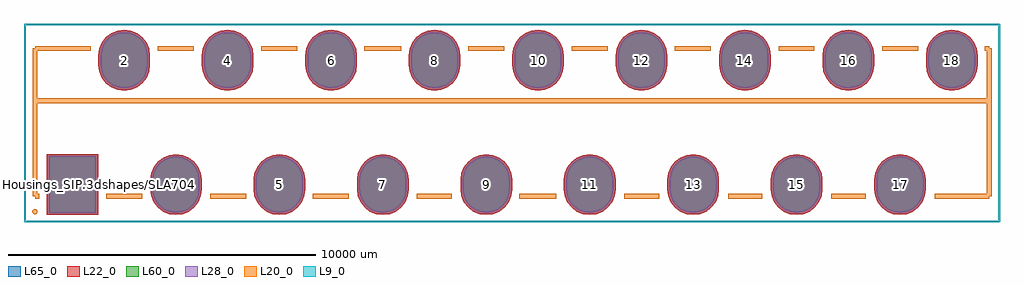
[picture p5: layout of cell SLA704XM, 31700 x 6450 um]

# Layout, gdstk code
import gdstk
lib = gdstk.Library(unit=1e-6, precision=1e-09)
def R(c, l, rs):  # rectangles x0, y0, x1, y1
    for r in rs: c.add(gdstk.rectangle(r[:2], r[2:], *l))
def P(c, l, *ps):  # polygons
    for p in ps: c.add(gdstk.Polygon(p, *l))
L9_0 = (9, 0)
L20_0 = (20, 0)
L22_0 = (22, 0)
L28_0 = (28, 0)
L60_0 = (60, 0)
L65_0 = (65, 0)

sla704xm = lib.new_cell('SLA704XM')
R(sla704xm, L22_0, [(-837,-987,837,987)])
P(sla704xm, L22_0, [(28560,3053),(28776.632,3081.52),(28978.5,3165.137),(29151.848,3298.152),(29284.863,3471.5),(29368.48,3673.368),(29397,3890),(29397,4190),(29368.48,4406.632),(29284.863,4608.5),(29151.848,4781.848),(28978.5,4914.863),(28776.632,4998.48),(28560,5027),(28343.368,4998.48),(28141.5,4914.863),(27968.152,4781.848),(27835.137,4608.5),(27751.52,4406.632),(27723,4190),(27723,3890),(27751.52,3673.368),(27835.137,3471.5),(27968.152,3298.152),(28141.5,3165.137),(28343.368,3081.52)],
  [(26880,-987),(27096.632,-958.48),(27298.5,-874.863),(27471.848,-741.848),(27604.863,-568.5),(27688.48,-366.632),(27717,-150),(27717,150),(27688.48,366.632),(27604.863,568.5),(27471.848,741.848),(27298.5,874.863),(27096.632,958.48),(26880,987),(26663.368,958.48),(26461.5,874.863),(26288.152,741.848),(26155.137,568.5),(26071.52,366.632),(26043,150),(26043,-150),(26071.52,-366.632),(26155.137,-568.5),(26288.152,-741.848),(26461.5,-874.863),(26663.368,-958.48)],
  [(25200,3053),(25416.632,3081.52),(25618.5,3165.137),(25791.848,3298.152),(25924.863,3471.5),(26008.48,3673.368),(26037,3890),(26037,4190),(26008.48,4406.632),(25924.863,4608.5),(25791.848,4781.848),(25618.5,4914.863),(25416.632,4998.48),(25200,5027),(24983.368,4998.48),(24781.5,4914.863),(24608.152,4781.848),(24475.137,4608.5),(24391.52,4406.632),(24363,4190),(24363,3890),(24391.52,3673.368),(24475.137,3471.5),(24608.152,3298.152),(24781.5,3165.137),(24983.368,3081.52)],
  [(23520,-987),(23736.632,-958.48),(23938.5,-874.863),(24111.848,-741.848),(24244.863,-568.5),(24328.48,-366.632),(24357,-150),(24357,150),(24328.48,366.632),(24244.863,568.5),(24111.848,741.848),(23938.5,874.863),(23736.632,958.48),(23520,987),(23303.368,958.48),(23101.5,874.863),(22928.152,741.848),(22795.137,568.5),(22711.52,366.632),(22683,150),(22683,-150),(22711.52,-366.632),(22795.137,-568.5),(22928.152,-741.848),(23101.5,-874.863),(23303.368,-958.48)],
  [(21840,3053),(22056.632,3081.52),(22258.5,3165.137),(22431.848,3298.152),(22564.863,3471.5),(22648.48,3673.368),(22677,3890),(22677,4190),(22648.48,4406.632),(22564.863,4608.5),(22431.848,4781.848),(22258.5,4914.863),(22056.632,4998.48),(21840,5027),(21623.368,4998.48),(21421.5,4914.863),(21248.152,4781.848),(21115.137,4608.5),(21031.52,4406.632),(21003,4190),(21003,3890),(21031.52,3673.368),(21115.137,3471.5),(21248.152,3298.152),(21421.5,3165.137),(21623.368,3081.52)],
  [(20160,-987),(20376.632,-958.48),(20578.5,-874.863),(20751.848,-741.848),(20884.863,-568.5),(20968.48,-366.632),(20997,-150),(20997,150),(20968.48,366.632),(20884.863,568.5),(20751.848,741.848),(20578.5,874.863),(20376.632,958.48),(20160,987),(19943.368,958.48),(19741.5,874.863),(19568.152,741.848),(19435.137,568.5),(19351.52,366.632),(19323,150),(19323,-150),(19351.52,-366.632),(19435.137,-568.5),(19568.152,-741.848),(19741.5,-874.863),(19943.368,-958.48)],
  [(18480,3053),(18696.632,3081.52),(18898.5,3165.137),(19071.848,3298.152),(19204.863,3471.5),(19288.48,3673.368),(19317,3890),(19317,4190),(19288.48,4406.632),(19204.863,4608.5),(19071.848,4781.848),(18898.5,4914.863),(18696.632,4998.48),(18480,5027),(18263.368,4998.48),(18061.5,4914.863),(17888.152,4781.848),(17755.137,4608.5),(17671.52,4406.632),(17643,4190),(17643,3890),(17671.52,3673.368),(17755.137,3471.5),(17888.152,3298.152),(18061.5,3165.137),(18263.368,3081.52)],
  [(16800,-987),(17016.632,-958.48),(17218.5,-874.863),(17391.848,-741.848),(17524.863,-568.5),(17608.48,-366.632),(17637,-150),(17637,150),(17608.48,366.632),(17524.863,568.5),(17391.848,741.848),(17218.5,874.863),(17016.632,958.48),(16800,987),(16583.368,958.48),(16381.5,874.863),(16208.152,741.848),(16075.137,568.5),(15991.52,366.632),(15963,150),(15963,-150),(15991.52,-366.632),(16075.137,-568.5),(16208.152,-741.848),(16381.5,-874.863),(16583.368,-958.48)],
  [(15120,3053),(15336.632,3081.52),(15538.5,3165.137),(15711.848,3298.152),(15844.863,3471.5),(15928.48,3673.368),(15957,3890),(15957,4190),(15928.48,4406.632),(15844.863,4608.5),(15711.848,4781.848),(15538.5,4914.863),(15336.632,4998.48),(15120,5027),(14903.368,4998.48),(14701.5,4914.863),(14528.152,4781.848),(14395.137,4608.5),(14311.52,4406.632),(14283,4190),(14283,3890),(14311.52,3673.368),(14395.137,3471.5),(14528.152,3298.152),(14701.5,3165.137),(14903.368,3081.52)],
  [(13440,-987),(13656.632,-958.48),(13858.5,-874.863),(14031.848,-741.848),(14164.863,-568.5),(14248.48,-366.632),(14277,-150),(14277,150),(14248.48,366.632),(14164.863,568.5),(14031.848,741.848),(13858.5,874.863),(13656.632,958.48),(13440,987),(13223.368,958.48),(13021.5,874.863),(12848.152,741.848),(12715.137,568.5),(12631.52,366.632),(12603,150),(12603,-150),(12631.52,-366.632),(12715.137,-568.5),(12848.152,-741.848),(13021.5,-874.863),(13223.368,-958.48)],
  [(11760,3053),(11976.632,3081.52),(12178.5,3165.137),(12351.848,3298.152),(12484.863,3471.5),(12568.48,3673.368),(12597,3890),(12597,4190),(12568.48,4406.632),(12484.863,4608.5),(12351.848,4781.848),(12178.5,4914.863),(11976.632,4998.48),(11760,5027),(11543.368,4998.48),(11341.5,4914.863),(11168.152,4781.848),(11035.137,4608.5),(10951.52,4406.632),(10923,4190),(10923,3890),(10951.52,3673.368),(11035.137,3471.5),(11168.152,3298.152),(11341.5,3165.137),(11543.368,3081.52)],
  [(10080,-987),(10296.632,-958.48),(10498.5,-874.863),(10671.848,-741.848),(10804.863,-568.5),(10888.48,-366.632),(10917,-150),(10917,150),(10888.48,366.632),(10804.863,568.5),(10671.848,741.848),(10498.5,874.863),(10296.632,958.48),(10080,987),(9863.368,958.48),(9661.5,874.863),(9488.152,741.848),(9355.137,568.5),(9271.52,366.632),(9243,150),(9243,-150),(9271.52,-366.632),(9355.137,-568.5),(9488.152,-741.848),(9661.5,-874.863),(9863.368,-958.48)],
  [(8400,3053),(8616.632,3081.52),(8818.5,3165.137),(8991.848,3298.152),(9124.863,3471.5),(9208.48,3673.368),(9237,3890),(9237,4190),(9208.48,4406.632),(9124.863,4608.5),(8991.848,4781.848),(8818.5,4914.863),(8616.632,4998.48),(8400,5027),(8183.368,4998.48),(7981.5,4914.863),(7808.152,4781.848),(7675.137,4608.5),(7591.52,4406.632),(7563,4190),(7563,3890),(7591.52,3673.368),(7675.137,3471.5),(7808.152,3298.152),(7981.5,3165.137),(8183.368,3081.52)],
  [(6720,-987),(6936.632,-958.48),(7138.5,-874.863),(7311.848,-741.848),(7444.863,-568.5),(7528.48,-366.632),(7557,-150),(7557,150),(7528.48,366.632),(7444.863,568.5),(7311.848,741.848),(7138.5,874.863),(6936.632,958.48),(6720,987),(6503.368,958.48),(6301.5,874.863),(6128.152,741.848),(5995.137,568.5),(5911.52,366.632),(5883,150),(5883,-150),(5911.52,-366.632),(5995.137,-568.5),(6128.152,-741.848),(6301.5,-874.863),(6503.368,-958.48)],
  [(5040,3053),(5256.632,3081.52),(5458.5,3165.137),(5631.848,3298.152),(5764.863,3471.5),(5848.48,3673.368),(5877,3890),(5877,4190),(5848.48,4406.632),(5764.863,4608.5),(5631.848,4781.848),(5458.5,4914.863),(5256.632,4998.48),(5040,5027),(4823.368,4998.48),(4621.5,4914.863),(4448.152,4781.848),(4315.137,4608.5),(4231.52,4406.632),(4203,4190),(4203,3890),(4231.52,3673.368),(4315.137,3471.5),(4448.152,3298.152),(4621.5,3165.137),(4823.368,3081.52)],
  [(3360,-987),(3576.632,-958.48),(3778.5,-874.863),(3951.848,-741.848),(4084.863,-568.5),(4168.48,-366.632),(4197,-150),(4197,150),(4168.48,366.632),(4084.863,568.5),(3951.848,741.848),(3778.5,874.863),(3576.632,958.48),(3360,987),(3143.368,958.48),(2941.5,874.863),(2768.152,741.848),(2635.137,568.5),(2551.52,366.632),(2523,150),(2523,-150),(2551.52,-366.632),(2635.137,-568.5),(2768.152,-741.848),(2941.5,-874.863),(3143.368,-958.48)],
  [(1680,3053),(1896.632,3081.52),(2098.5,3165.137),(2271.848,3298.152),(2404.863,3471.5),(2488.48,3673.368),(2517,3890),(2517,4190),(2488.48,4406.632),(2404.863,4608.5),(2271.848,4781.848),(2098.5,4914.863),(1896.632,4998.48),(1680,5027),(1463.368,4998.48),(1261.5,4914.863),(1088.152,4781.848),(955.137,4608.5),(871.52,4406.632),(843,4190),(843,3890),(871.52,3673.368),(955.137,3471.5),(1088.152,3298.152),(1261.5,3165.137),(1463.368,3081.52)])
R(sla704xm, L28_0, [(-762,-912,762,912)])
P(sla704xm, L28_0, [(28560,3128),(28757.22,3153.965),(28941,3230.089),(29098.815,3351.185),(29219.911,3509),(29296.035,3692.78),(29322,3890),(29322,4190),(29296.035,4387.22),(29219.911,4571),(29098.815,4728.815),(28941,4849.911),(28757.22,4926.035),(28560,4952),(28362.78,4926.035),(28179,4849.911),(28021.185,4728.815),(27900.089,4571),(27823.965,4387.22),(27798,4190),(27798,3890),(27823.965,3692.78),(27900.089,3509),(28021.185,3351.185),(28179,3230.089),(28362.78,3153.965)],
  [(26880,-912),(27077.22,-886.035),(27261,-809.911),(27418.815,-688.815),(27539.911,-531),(27616.035,-347.22),(27642,-150),(27642,150),(27616.035,347.22),(27539.911,531),(27418.815,688.815),(27261,809.911),(27077.22,886.035),(26880,912),(26682.78,886.035),(26499,809.911),(26341.185,688.815),(26220.089,531),(26143.965,347.22),(26118,150),(26118,-150),(26143.965,-347.22),(26220.089,-531),(26341.185,-688.815),(26499,-809.911),(26682.78,-886.035)],
  [(25200,3128),(25397.22,3153.965),(25581,3230.089),(25738.815,3351.185),(25859.911,3509),(25936.035,3692.78),(25962,3890),(25962,4190),(25936.035,4387.22),(25859.911,4571),(25738.815,4728.815),(25581,4849.911),(25397.22,4926.035),(25200,4952),(25002.78,4926.035),(24819,4849.911),(24661.185,4728.815),(24540.089,4571),(24463.965,4387.22),(24438,4190),(24438,3890),(24463.965,3692.78),(24540.089,3509),(24661.185,3351.185),(24819,3230.089),(25002.78,3153.965)],
  [(23520,-912),(23717.22,-886.035),(23901,-809.911),(24058.815,-688.815),(24179.911,-531),(24256.035,-347.22),(24282,-150),(24282,150),(24256.035,347.22),(24179.911,531),(24058.815,688.815),(23901,809.911),(23717.22,886.035),(23520,912),(23322.78,886.035),(23139,809.911),(22981.185,688.815),(22860.089,531),(22783.965,347.22),(22758,150),(22758,-150),(22783.965,-347.22),(22860.089,-531),(22981.185,-688.815),(23139,-809.911),(23322.78,-886.035)],
  [(21840,3128),(22037.22,3153.965),(22221,3230.089),(22378.815,3351.185),(22499.911,3509),(22576.035,3692.78),(22602,3890),(22602,4190),(22576.035,4387.22),(22499.911,4571),(22378.815,4728.815),(22221,4849.911),(22037.22,4926.035),(21840,4952),(21642.78,4926.035),(21459,4849.911),(21301.185,4728.815),(21180.089,4571),(21103.965,4387.22),(21078,4190),(21078,3890),(21103.965,3692.78),(21180.089,3509),(21301.185,3351.185),(21459,3230.089),(21642.78,3153.965)],
  [(20160,-912),(20357.22,-886.035),(20541,-809.911),(20698.815,-688.815),(20819.911,-531),(20896.035,-347.22),(20922,-150),(20922,150),(20896.035,347.22),(20819.911,531),(20698.815,688.815),(20541,809.911),(20357.22,886.035),(20160,912),(19962.78,886.035),(19779,809.911),(19621.185,688.815),(19500.089,531),(19423.965,347.22),(19398,150),(19398,-150),(19423.965,-347.22),(19500.089,-531),(19621.185,-688.815),(19779,-809.911),(19962.78,-886.035)],
  [(18480,3128),(18677.22,3153.965),(18861,3230.089),(19018.815,3351.185),(19139.911,3509),(19216.035,3692.78),(19242,3890),(19242,4190),(19216.035,4387.22),(19139.911,4571),(19018.815,4728.815),(18861,4849.911),(18677.22,4926.035),(18480,4952),(18282.78,4926.035),(18099,4849.911),(17941.185,4728.815),(17820.089,4571),(17743.965,4387.22),(17718,4190),(17718,3890),(17743.965,3692.78),(17820.089,3509),(17941.185,3351.185),(18099,3230.089),(18282.78,3153.965)],
  [(16800,-912),(16997.22,-886.035),(17181,-809.911),(17338.815,-688.815),(17459.911,-531),(17536.035,-347.22),(17562,-150),(17562,150),(17536.035,347.22),(17459.911,531),(17338.815,688.815),(17181,809.911),(16997.22,886.035),(16800,912),(16602.78,886.035),(16419,809.911),(16261.185,688.815),(16140.089,531),(16063.965,347.22),(16038,150),(16038,-150),(16063.965,-347.22),(16140.089,-531),(16261.185,-688.815),(16419,-809.911),(16602.78,-886.035)],
  [(15120,3128),(15317.22,3153.965),(15501,3230.089),(15658.815,3351.185),(15779.911,3509),(15856.035,3692.78),(15882,3890),(15882,4190),(15856.035,4387.22),(15779.911,4571),(15658.815,4728.815),(15501,4849.911),(15317.22,4926.035),(15120,4952),(14922.78,4926.035),(14739,4849.911),(14581.185,4728.815),(14460.089,4571),(14383.965,4387.22),(14358,4190),(14358,3890),(14383.965,3692.78),(14460.089,3509),(14581.185,3351.185),(14739,3230.089),(14922.78,3153.965)],
  [(13440,-912),(13637.22,-886.035),(13821,-809.911),(13978.815,-688.815),(14099.911,-531),(14176.035,-347.22),(14202,-150),(14202,150),(14176.035,347.22),(14099.911,531),(13978.815,688.815),(13821,809.911),(13637.22,886.035),(13440,912),(13242.78,886.035),(13059,809.911),(12901.185,688.815),(12780.089,531),(12703.965,347.22),(12678,150),(12678,-150),(12703.965,-347.22),(12780.089,-531),(12901.185,-688.815),(13059,-809.911),(13242.78,-886.035)],
  [(11760,3128),(11957.22,3153.965),(12141,3230.089),(12298.815,3351.185),(12419.911,3509),(12496.035,3692.78),(12522,3890),(12522,4190),(12496.035,4387.22),(12419.911,4571),(12298.815,4728.815),(12141,4849.911),(11957.22,4926.035),(11760,4952),(11562.78,4926.035),(11379,4849.911),(11221.185,4728.815),(11100.089,4571),(11023.965,4387.22),(10998,4190),(10998,3890),(11023.965,3692.78),(11100.089,3509),(11221.185,3351.185),(11379,3230.089),(11562.78,3153.965)],
  [(10080,-912),(10277.22,-886.035),(10461,-809.911),(10618.815,-688.815),(10739.911,-531),(10816.035,-347.22),(10842,-150),(10842,150),(10816.035,347.22),(10739.911,531),(10618.815,688.815),(10461,809.911),(10277.22,886.035),(10080,912),(9882.78,886.035),(9699,809.911),(9541.185,688.815),(9420.089,531),(9343.965,347.22),(9318,150),(9318,-150),(9343.965,-347.22),(9420.089,-531),(9541.185,-688.815),(9699,-809.911),(9882.78,-886.035)],
  [(8400,3128),(8597.22,3153.965),(8781,3230.089),(8938.815,3351.185),(9059.911,3509),(9136.035,3692.78),(9162,3890),(9162,4190),(9136.035,4387.22),(9059.911,4571),(8938.815,4728.815),(8781,4849.911),(8597.22,4926.035),(8400,4952),(8202.78,4926.035),(8019,4849.911),(7861.185,4728.815),(7740.089,4571),(7663.965,4387.22),(7638,4190),(7638,3890),(7663.965,3692.78),(7740.089,3509),(7861.185,3351.185),(8019,3230.089),(8202.78,3153.965)],
  [(6720,-912),(6917.22,-886.035),(7101,-809.911),(7258.815,-688.815),(7379.911,-531),(7456.035,-347.22),(7482,-150),(7482,150),(7456.035,347.22),(7379.911,531),(7258.815,688.815),(7101,809.911),(6917.22,886.035),(6720,912),(6522.78,886.035),(6339,809.911),(6181.185,688.815),(6060.089,531),(5983.965,347.22),(5958,150),(5958,-150),(5983.965,-347.22),(6060.089,-531),(6181.185,-688.815),(6339,-809.911),(6522.78,-886.035)],
  [(5040,3128),(5237.22,3153.965),(5421,3230.089),(5578.815,3351.185),(5699.911,3509),(5776.035,3692.78),(5802,3890),(5802,4190),(5776.035,4387.22),(5699.911,4571),(5578.815,4728.815),(5421,4849.911),(5237.22,4926.035),(5040,4952),(4842.78,4926.035),(4659,4849.911),(4501.185,4728.815),(4380.089,4571),(4303.965,4387.22),(4278,4190),(4278,3890),(4303.965,3692.78),(4380.089,3509),(4501.185,3351.185),(4659,3230.089),(4842.78,3153.965)],
  [(3360,-912),(3557.22,-886.035),(3741,-809.911),(3898.815,-688.815),(4019.911,-531),(4096.035,-347.22),(4122,-150),(4122,150),(4096.035,347.22),(4019.911,531),(3898.815,688.815),(3741,809.911),(3557.22,886.035),(3360,912),(3162.78,886.035),(2979,809.911),(2821.185,688.815),(2700.089,531),(2623.965,347.22),(2598,150),(2598,-150),(2623.965,-347.22),(2700.089,-531),(2821.185,-688.815),(2979,-809.911),(3162.78,-886.035)],
  [(1680,3128),(1877.22,3153.965),(2061,3230.089),(2218.815,3351.185),(2339.911,3509),(2416.035,3692.78),(2442,3890),(2442,4190),(2416.035,4387.22),(2339.911,4571),(2218.815,4728.815),(2061,4849.911),(1877.22,4926.035),(1680,4952),(1482.78,4926.035),(1299,4849.911),(1141.185,4728.815),(1020.089,4571),(943.965,4387.22),(918,4190),(918,3890),(943.965,3692.78),(1020.089,3509),(1141.185,3351.185),(1299,3230.089),(1482.78,3153.965)])
R(sla704xm, L60_0, [(-762,-912,762,912)])
P(sla704xm, L60_0, [(28560,3128),(28757.22,3153.965),(28941,3230.089),(29098.815,3351.185),(29219.911,3509),(29296.035,3692.78),(29322,3890),(29322,4190),(29296.035,4387.22),(29219.911,4571),(29098.815,4728.815),(28941,4849.911),(28757.22,4926.035),(28560,4952),(28362.78,4926.035),(28179,4849.911),(28021.185,4728.815),(27900.089,4571),(27823.965,4387.22),(27798,4190),(27798,3890),(27823.965,3692.78),(27900.089,3509),(28021.185,3351.185),(28179,3230.089),(28362.78,3153.965)],
  [(26880,-912),(27077.22,-886.035),(27261,-809.911),(27418.815,-688.815),(27539.911,-531),(27616.035,-347.22),(27642,-150),(27642,150),(27616.035,347.22),(27539.911,531),(27418.815,688.815),(27261,809.911),(27077.22,886.035),(26880,912),(26682.78,886.035),(26499,809.911),(26341.185,688.815),(26220.089,531),(26143.965,347.22),(26118,150),(26118,-150),(26143.965,-347.22),(26220.089,-531),(26341.185,-688.815),(26499,-809.911),(26682.78,-886.035)],
  [(25200,3128),(25397.22,3153.965),(25581,3230.089),(25738.815,3351.185),(25859.911,3509),(25936.035,3692.78),(25962,3890),(25962,4190),(25936.035,4387.22),(25859.911,4571),(25738.815,4728.815),(25581,4849.911),(25397.22,4926.035),(25200,4952),(25002.78,4926.035),(24819,4849.911),(24661.185,4728.815),(24540.089,4571),(24463.965,4387.22),(24438,4190),(24438,3890),(24463.965,3692.78),(24540.089,3509),(24661.185,3351.185),(24819,3230.089),(25002.78,3153.965)],
  [(23520,-912),(23717.22,-886.035),(23901,-809.911),(24058.815,-688.815),(24179.911,-531),(24256.035,-347.22),(24282,-150),(24282,150),(24256.035,347.22),(24179.911,531),(24058.815,688.815),(23901,809.911),(23717.22,886.035),(23520,912),(23322.78,886.035),(23139,809.911),(22981.185,688.815),(22860.089,531),(22783.965,347.22),(22758,150),(22758,-150),(22783.965,-347.22),(22860.089,-531),(22981.185,-688.815),(23139,-809.911),(23322.78,-886.035)],
  [(21840,3128),(22037.22,3153.965),(22221,3230.089),(22378.815,3351.185),(22499.911,3509),(22576.035,3692.78),(22602,3890),(22602,4190),(22576.035,4387.22),(22499.911,4571),(22378.815,4728.815),(22221,4849.911),(22037.22,4926.035),(21840,4952),(21642.78,4926.035),(21459,4849.911),(21301.185,4728.815),(21180.089,4571),(21103.965,4387.22),(21078,4190),(21078,3890),(21103.965,3692.78),(21180.089,3509),(21301.185,3351.185),(21459,3230.089),(21642.78,3153.965)],
  [(20160,-912),(20357.22,-886.035),(20541,-809.911),(20698.815,-688.815),(20819.911,-531),(20896.035,-347.22),(20922,-150),(20922,150),(20896.035,347.22),(20819.911,531),(20698.815,688.815),(20541,809.911),(20357.22,886.035),(20160,912),(19962.78,886.035),(19779,809.911),(19621.185,688.815),(19500.089,531),(19423.965,347.22),(19398,150),(19398,-150),(19423.965,-347.22),(19500.089,-531),(19621.185,-688.815),(19779,-809.911),(19962.78,-886.035)],
  [(18480,3128),(18677.22,3153.965),(18861,3230.089),(19018.815,3351.185),(19139.911,3509),(19216.035,3692.78),(19242,3890),(19242,4190),(19216.035,4387.22),(19139.911,4571),(19018.815,4728.815),(18861,4849.911),(18677.22,4926.035),(18480,4952),(18282.78,4926.035),(18099,4849.911),(17941.185,4728.815),(17820.089,4571),(17743.965,4387.22),(17718,4190),(17718,3890),(17743.965,3692.78),(17820.089,3509),(17941.185,3351.185),(18099,3230.089),(18282.78,3153.965)],
  [(16800,-912),(16997.22,-886.035),(17181,-809.911),(17338.815,-688.815),(17459.911,-531),(17536.035,-347.22),(17562,-150),(17562,150),(17536.035,347.22),(17459.911,531),(17338.815,688.815),(17181,809.911),(16997.22,886.035),(16800,912),(16602.78,886.035),(16419,809.911),(16261.185,688.815),(16140.089,531),(16063.965,347.22),(16038,150),(16038,-150),(16063.965,-347.22),(16140.089,-531),(16261.185,-688.815),(16419,-809.911),(16602.78,-886.035)],
  [(15120,3128),(15317.22,3153.965),(15501,3230.089),(15658.815,3351.185),(15779.911,3509),(15856.035,3692.78),(15882,3890),(15882,4190),(15856.035,4387.22),(15779.911,4571),(15658.815,4728.815),(15501,4849.911),(15317.22,4926.035),(15120,4952),(14922.78,4926.035),(14739,4849.911),(14581.185,4728.815),(14460.089,4571),(14383.965,4387.22),(14358,4190),(14358,3890),(14383.965,3692.78),(14460.089,3509),(14581.185,3351.185),(14739,3230.089),(14922.78,3153.965)],
  [(13440,-912),(13637.22,-886.035),(13821,-809.911),(13978.815,-688.815),(14099.911,-531),(14176.035,-347.22),(14202,-150),(14202,150),(14176.035,347.22),(14099.911,531),(13978.815,688.815),(13821,809.911),(13637.22,886.035),(13440,912),(13242.78,886.035),(13059,809.911),(12901.185,688.815),(12780.089,531),(12703.965,347.22),(12678,150),(12678,-150),(12703.965,-347.22),(12780.089,-531),(12901.185,-688.815),(13059,-809.911),(13242.78,-886.035)],
  [(11760,3128),(11957.22,3153.965),(12141,3230.089),(12298.815,3351.185),(12419.911,3509),(12496.035,3692.78),(12522,3890),(12522,4190),(12496.035,4387.22),(12419.911,4571),(12298.815,4728.815),(12141,4849.911),(11957.22,4926.035),(11760,4952),(11562.78,4926.035),(11379,4849.911),(11221.185,4728.815),(11100.089,4571),(11023.965,4387.22),(10998,4190),(10998,3890),(11023.965,3692.78),(11100.089,3509),(11221.185,3351.185),(11379,3230.089),(11562.78,3153.965)],
  [(10080,-912),(10277.22,-886.035),(10461,-809.911),(10618.815,-688.815),(10739.911,-531),(10816.035,-347.22),(10842,-150),(10842,150),(10816.035,347.22),(10739.911,531),(10618.815,688.815),(10461,809.911),(10277.22,886.035),(10080,912),(9882.78,886.035),(9699,809.911),(9541.185,688.815),(9420.089,531),(9343.965,347.22),(9318,150),(9318,-150),(9343.965,-347.22),(9420.089,-531),(9541.185,-688.815),(9699,-809.911),(9882.78,-886.035)],
  [(8400,3128),(8597.22,3153.965),(8781,3230.089),(8938.815,3351.185),(9059.911,3509),(9136.035,3692.78),(9162,3890),(9162,4190),(9136.035,4387.22),(9059.911,4571),(8938.815,4728.815),(8781,4849.911),(8597.22,4926.035),(8400,4952),(8202.78,4926.035),(8019,4849.911),(7861.185,4728.815),(7740.089,4571),(7663.965,4387.22),(7638,4190),(7638,3890),(7663.965,3692.78),(7740.089,3509),(7861.185,3351.185),(8019,3230.089),(8202.78,3153.965)],
  [(6720,-912),(6917.22,-886.035),(7101,-809.911),(7258.815,-688.815),(7379.911,-531),(7456.035,-347.22),(7482,-150),(7482,150),(7456.035,347.22),(7379.911,531),(7258.815,688.815),(7101,809.911),(6917.22,886.035),(6720,912),(6522.78,886.035),(6339,809.911),(6181.185,688.815),(6060.089,531),(5983.965,347.22),(5958,150),(5958,-150),(5983.965,-347.22),(6060.089,-531),(6181.185,-688.815),(6339,-809.911),(6522.78,-886.035)],
  [(5040,3128),(5237.22,3153.965),(5421,3230.089),(5578.815,3351.185),(5699.911,3509),(5776.035,3692.78),(5802,3890),(5802,4190),(5776.035,4387.22),(5699.911,4571),(5578.815,4728.815),(5421,4849.911),(5237.22,4926.035),(5040,4952),(4842.78,4926.035),(4659,4849.911),(4501.185,4728.815),(4380.089,4571),(4303.965,4387.22),(4278,4190),(4278,3890),(4303.965,3692.78),(4380.089,3509),(4501.185,3351.185),(4659,3230.089),(4842.78,3153.965)],
  [(3360,-912),(3557.22,-886.035),(3741,-809.911),(3898.815,-688.815),(4019.911,-531),(4096.035,-347.22),(4122,-150),(4122,150),(4096.035,347.22),(4019.911,531),(3898.815,688.815),(3741,809.911),(3557.22,886.035),(3360,912),(3162.78,886.035),(2979,809.911),(2821.185,688.815),(2700.089,531),(2623.965,347.22),(2598,150),(2598,-150),(2623.965,-347.22),(2700.089,-531),(2821.185,-688.815),(2979,-809.911),(3162.78,-886.035)],
  [(1680,3128),(1877.22,3153.965),(2061,3230.089),(2218.815,3351.185),(2339.911,3509),(2416.035,3692.78),(2442,3890),(2442,4190),(2416.035,4387.22),(2339.911,4571),(2218.815,4728.815),(2061,4849.911),(1877.22,4926.035),(1680,4952),(1482.78,4926.035),(1299,4849.911),(1141.185,4728.815),(1020.089,4571),(943.965,4387.22),(918,4190),(918,3890),(943.965,3692.78),(1020.089,3509),(1141.185,3351.185),(1299,3230.089),(1482.78,3153.965)])
R(sla704xm, L65_0, [(-837,-987,837,987)])
P(sla704xm, L65_0, [(28560,3053),(28776.632,3081.52),(28978.5,3165.137),(29151.848,3298.152),(29284.863,3471.5),(29368.48,3673.368),(29397,3890),(29397,4190),(29368.48,4406.632),(29284.863,4608.5),(29151.848,4781.848),(28978.5,4914.863),(28776.632,4998.48),(28560,5027),(28343.368,4998.48),(28141.5,4914.863),(27968.152,4781.848),(27835.137,4608.5),(27751.52,4406.632),(27723,4190),(27723,3890),(27751.52,3673.368),(27835.137,3471.5),(27968.152,3298.152),(28141.5,3165.137),(28343.368,3081.52)],
  [(26880,-987),(27096.632,-958.48),(27298.5,-874.863),(27471.848,-741.848),(27604.863,-568.5),(27688.48,-366.632),(27717,-150),(27717,150),(27688.48,366.632),(27604.863,568.5),(27471.848,741.848),(27298.5,874.863),(27096.632,958.48),(26880,987),(26663.368,958.48),(26461.5,874.863),(26288.152,741.848),(26155.137,568.5),(26071.52,366.632),(26043,150),(26043,-150),(26071.52,-366.632),(26155.137,-568.5),(26288.152,-741.848),(26461.5,-874.863),(26663.368,-958.48)],
  [(25200,3053),(25416.632,3081.52),(25618.5,3165.137),(25791.848,3298.152),(25924.863,3471.5),(26008.48,3673.368),(26037,3890),(26037,4190),(26008.48,4406.632),(25924.863,4608.5),(25791.848,4781.848),(25618.5,4914.863),(25416.632,4998.48),(25200,5027),(24983.368,4998.48),(24781.5,4914.863),(24608.152,4781.848),(24475.137,4608.5),(24391.52,4406.632),(24363,4190),(24363,3890),(24391.52,3673.368),(24475.137,3471.5),(24608.152,3298.152),(24781.5,3165.137),(24983.368,3081.52)],
  [(23520,-987),(23736.632,-958.48),(23938.5,-874.863),(24111.848,-741.848),(24244.863,-568.5),(24328.48,-366.632),(24357,-150),(24357,150),(24328.48,366.632),(24244.863,568.5),(24111.848,741.848),(23938.5,874.863),(23736.632,958.48),(23520,987),(23303.368,958.48),(23101.5,874.863),(22928.152,741.848),(22795.137,568.5),(22711.52,366.632),(22683,150),(22683,-150),(22711.52,-366.632),(22795.137,-568.5),(22928.152,-741.848),(23101.5,-874.863),(23303.368,-958.48)],
  [(21840,3053),(22056.632,3081.52),(22258.5,3165.137),(22431.848,3298.152),(22564.863,3471.5),(22648.48,3673.368),(22677,3890),(22677,4190),(22648.48,4406.632),(22564.863,4608.5),(22431.848,4781.848),(22258.5,4914.863),(22056.632,4998.48),(21840,5027),(21623.368,4998.48),(21421.5,4914.863),(21248.152,4781.848),(21115.137,4608.5),(21031.52,4406.632),(21003,4190),(21003,3890),(21031.52,3673.368),(21115.137,3471.5),(21248.152,3298.152),(21421.5,3165.137),(21623.368,3081.52)],
  [(20160,-987),(20376.632,-958.48),(20578.5,-874.863),(20751.848,-741.848),(20884.863,-568.5),(20968.48,-366.632),(20997,-150),(20997,150),(20968.48,366.632),(20884.863,568.5),(20751.848,741.848),(20578.5,874.863),(20376.632,958.48),(20160,987),(19943.368,958.48),(19741.5,874.863),(19568.152,741.848),(19435.137,568.5),(19351.52,366.632),(19323,150),(19323,-150),(19351.52,-366.632),(19435.137,-568.5),(19568.152,-741.848),(19741.5,-874.863),(19943.368,-958.48)],
  [(18480,3053),(18696.632,3081.52),(18898.5,3165.137),(19071.848,3298.152),(19204.863,3471.5),(19288.48,3673.368),(19317,3890),(19317,4190),(19288.48,4406.632),(19204.863,4608.5),(19071.848,4781.848),(18898.5,4914.863),(18696.632,4998.48),(18480,5027),(18263.368,4998.48),(18061.5,4914.863),(17888.152,4781.848),(17755.137,4608.5),(17671.52,4406.632),(17643,4190),(17643,3890),(17671.52,3673.368),(17755.137,3471.5),(17888.152,3298.152),(18061.5,3165.137),(18263.368,3081.52)],
  [(16800,-987),(17016.632,-958.48),(17218.5,-874.863),(17391.848,-741.848),(17524.863,-568.5),(17608.48,-366.632),(17637,-150),(17637,150),(17608.48,366.632),(17524.863,568.5),(17391.848,741.848),(17218.5,874.863),(17016.632,958.48),(16800,987),(16583.368,958.48),(16381.5,874.863),(16208.152,741.848),(16075.137,568.5),(15991.52,366.632),(15963,150),(15963,-150),(15991.52,-366.632),(16075.137,-568.5),(16208.152,-741.848),(16381.5,-874.863),(16583.368,-958.48)],
  [(15120,3053),(15336.632,3081.52),(15538.5,3165.137),(15711.848,3298.152),(15844.863,3471.5),(15928.48,3673.368),(15957,3890),(15957,4190),(15928.48,4406.632),(15844.863,4608.5),(15711.848,4781.848),(15538.5,4914.863),(15336.632,4998.48),(15120,5027),(14903.368,4998.48),(14701.5,4914.863),(14528.152,4781.848),(14395.137,4608.5),(14311.52,4406.632),(14283,4190),(14283,3890),(14311.52,3673.368),(14395.137,3471.5),(14528.152,3298.152),(14701.5,3165.137),(14903.368,3081.52)],
  [(13440,-987),(13656.632,-958.48),(13858.5,-874.863),(14031.848,-741.848),(14164.863,-568.5),(14248.48,-366.632),(14277,-150),(14277,150),(14248.48,366.632),(14164.863,568.5),(14031.848,741.848),(13858.5,874.863),(13656.632,958.48),(13440,987),(13223.368,958.48),(13021.5,874.863),(12848.152,741.848),(12715.137,568.5),(12631.52,366.632),(12603,150),(12603,-150),(12631.52,-366.632),(12715.137,-568.5),(12848.152,-741.848),(13021.5,-874.863),(13223.368,-958.48)],
  [(11760,3053),(11976.632,3081.52),(12178.5,3165.137),(12351.848,3298.152),(12484.863,3471.5),(12568.48,3673.368),(12597,3890),(12597,4190),(12568.48,4406.632),(12484.863,4608.5),(12351.848,4781.848),(12178.5,4914.863),(11976.632,4998.48),(11760,5027),(11543.368,4998.48),(11341.5,4914.863),(11168.152,4781.848),(11035.137,4608.5),(10951.52,4406.632),(10923,4190),(10923,3890),(10951.52,3673.368),(11035.137,3471.5),(11168.152,3298.152),(11341.5,3165.137),(11543.368,3081.52)],
  [(10080,-987),(10296.632,-958.48),(10498.5,-874.863),(10671.848,-741.848),(10804.863,-568.5),(10888.48,-366.632),(10917,-150),(10917,150),(10888.48,366.632),(10804.863,568.5),(10671.848,741.848),(10498.5,874.863),(10296.632,958.48),(10080,987),(9863.368,958.48),(9661.5,874.863),(9488.152,741.848),(9355.137,568.5),(9271.52,366.632),(9243,150),(9243,-150),(9271.52,-366.632),(9355.137,-568.5),(9488.152,-741.848),(9661.5,-874.863),(9863.368,-958.48)],
  [(8400,3053),(8616.632,3081.52),(8818.5,3165.137),(8991.848,3298.152),(9124.863,3471.5),(9208.48,3673.368),(9237,3890),(9237,4190),(9208.48,4406.632),(9124.863,4608.5),(8991.848,4781.848),(8818.5,4914.863),(8616.632,4998.48),(8400,5027),(8183.368,4998.48),(7981.5,4914.863),(7808.152,4781.848),(7675.137,4608.5),(7591.52,4406.632),(7563,4190),(7563,3890),(7591.52,3673.368),(7675.137,3471.5),(7808.152,3298.152),(7981.5,3165.137),(8183.368,3081.52)],
  [(6720,-987),(6936.632,-958.48),(7138.5,-874.863),(7311.848,-741.848),(7444.863,-568.5),(7528.48,-366.632),(7557,-150),(7557,150),(7528.48,366.632),(7444.863,568.5),(7311.848,741.848),(7138.5,874.863),(6936.632,958.48),(6720,987),(6503.368,958.48),(6301.5,874.863),(6128.152,741.848),(5995.137,568.5),(5911.52,366.632),(5883,150),(5883,-150),(5911.52,-366.632),(5995.137,-568.5),(6128.152,-741.848),(6301.5,-874.863),(6503.368,-958.48)],
  [(5040,3053),(5256.632,3081.52),(5458.5,3165.137),(5631.848,3298.152),(5764.863,3471.5),(5848.48,3673.368),(5877,3890),(5877,4190),(5848.48,4406.632),(5764.863,4608.5),(5631.848,4781.848),(5458.5,4914.863),(5256.632,4998.48),(5040,5027),(4823.368,4998.48),(4621.5,4914.863),(4448.152,4781.848),(4315.137,4608.5),(4231.52,4406.632),(4203,4190),(4203,3890),(4231.52,3673.368),(4315.137,3471.5),(4448.152,3298.152),(4621.5,3165.137),(4823.368,3081.52)],
  [(3360,-987),(3576.632,-958.48),(3778.5,-874.863),(3951.848,-741.848),(4084.863,-568.5),(4168.48,-366.632),(4197,-150),(4197,150),(4168.48,366.632),(4084.863,568.5),(3951.848,741.848),(3778.5,874.863),(3576.632,958.48),(3360,987),(3143.368,958.48),(2941.5,874.863),(2768.152,741.848),(2635.137,568.5),(2551.52,366.632),(2523,150),(2523,-150),(2551.52,-366.632),(2635.137,-568.5),(2768.152,-741.848),(2941.5,-874.863),(3143.368,-958.48)],
  [(1680,3053),(1896.632,3081.52),(2098.5,3165.137),(2271.848,3298.152),(2404.863,3471.5),(2488.48,3673.368),(2517,3890),(2517,4190),(2488.48,4406.632),(2404.863,4608.5),(2271.848,4781.848),(2098.5,4914.863),(1896.632,4998.48),(1680,5027),(1463.368,4998.48),(1261.5,4914.863),(1088.152,4781.848),(955.137,4608.5),(871.52,4406.632),(843,4190),(843,3890),(871.52,3673.368),(955.137,3471.5),(1088.152,3298.152),(1261.5,3165.137),(1463.368,3081.52)])
sla704xm.add(gdstk.FlexPath([(-1212.2,4423.2),(591.2,4423.2)], 149.998, ends="flush", simple_path=True, layer=20, datatype=0))  # L20_0
sla704xm.add(gdstk.FlexPath([(2775.6,4423.2),(3944,4423.2)], 149.998, ends="flush", simple_path=True, layer=20, datatype=0))  # L20_0
sla704xm.add(gdstk.FlexPath([(6128.4,4423.2),(7296.8,4423.2)], 149.998, ends="flush", simple_path=True, layer=20, datatype=0))  # L20_0
sla704xm.add(gdstk.FlexPath([(9481.2,4423.2),(10675,4423.2)], 149.998, ends="flush", simple_path=True, layer=20, datatype=0))  # L20_0
sla704xm.add(gdstk.FlexPath([(12859.4,4423.2),(14027.8,4423.2)], 149.998, ends="flush", simple_path=True, layer=20, datatype=0))  # L20_0
sla704xm.add(gdstk.FlexPath([(16212.2,4423.2),(17380.6,4423.2)], 149.998, ends="flush", simple_path=True, layer=20, datatype=0))  # L20_0
sla704xm.add(gdstk.FlexPath([(19565,4423.2),(20733.4,4423.2)], 149.998, ends="flush", simple_path=True, layer=20, datatype=0))  # L20_0
sla704xm.add(gdstk.FlexPath([(22943.2,4423.2),(24086.2,4423.2)], 149.998, ends="flush", simple_path=True, layer=20, datatype=0))  # L20_0
sla704xm.add(gdstk.FlexPath([(26296,4423.2),(27464.4,4423.2)], 149.998, ends="flush", simple_path=True, layer=20, datatype=0))  # L20_0
sla704xm.add(gdstk.FlexPath([(29623.4,4423.2),(29775.8,4423.2)], 149.998, ends="flush", simple_path=True, layer=20, datatype=0))  # L20_0
sla704xm.add(gdstk.FlexPath([(-1212.2,-377.4),(-1085.2,-377.4)], 149.998, ends="flush", simple_path=True, layer=20, datatype=0))  # L20_0
sla704xm.add(gdstk.FlexPath([(1099.2,-377.4),(2267.6,-377.4)], 149.998, ends="flush", simple_path=True, layer=20, datatype=0))  # L20_0
sla704xm.add(gdstk.FlexPath([(4477.4,-377.4),(5645.8,-377.4)], 149.998, ends="flush", simple_path=True, layer=20, datatype=0))  # L20_0
sla704xm.add(gdstk.FlexPath([(7804.8,-377.4),(8973.2,-377.4)], 149.998, ends="flush", simple_path=True, layer=20, datatype=0))  # L20_0
sla704xm.add(gdstk.FlexPath([(11183,-377.4),(12326,-377.4)], 149.998, ends="flush", simple_path=True, layer=20, datatype=0))  # L20_0
sla704xm.add(gdstk.FlexPath([(14510.4,-377.4),(15704.2,-377.4)], 149.998, ends="flush", simple_path=True, layer=20, datatype=0))  # L20_0
sla704xm.add(gdstk.FlexPath([(17914,-377.4),(19057,-377.4)], 149.998, ends="flush", simple_path=True, layer=20, datatype=0))  # L20_0
sla704xm.add(gdstk.FlexPath([(21292.2,-377.4),(22409.8,-377.4)], 149.998, ends="flush", simple_path=True, layer=20, datatype=0))  # L20_0
sla704xm.add(gdstk.FlexPath([(24645,-377.4),(25762.6,-377.4)], 149.998, ends="flush", simple_path=True, layer=20, datatype=0))  # L20_0
sla704xm.add(gdstk.FlexPath([(29775.8,-377.4),(27997.8,-377.4)], 149.998, ends="flush", simple_path=True, layer=20, datatype=0))  # L20_0
sla704xm.add(gdstk.FlexPath([(29775.8,4423.2),(29775.8,-377.4)], 149.998, ends="flush", simple_path=True, layer=20, datatype=0))  # L20_0
sla704xm.add(gdstk.FlexPath([(-1212.2,-377.4),(-1212.2,4423.2)], 149.998, ends="flush", simple_path=True, layer=20, datatype=0))  # L20_0
sla704xm.add(gdstk.FlexPath([(-1212.2,2721.4),(29775.8,2721.4)], 149.998, ends="flush", simple_path=True, layer=20, datatype=0))  # L20_0
sla704xm.add(gdstk.FlexPath([(-1220,-870),(-1222.588,-870.341),(-1225,-871.34),(-1227.071,-872.929),(-1228.66,-875),(-1229.659,-877.412),(-1230,-880),(-1229.659,-882.588),(-1228.66,-885),(-1227.071,-887.071),(-1225,-888.66),(-1222.588,-889.659),(-1220,-890),(-1217.412,-889.659),(-1215,-888.66),(-1212.929,-887.071),(-1211.34,-885),(-1210.341,-882.588),(-1210,-880),(-1210.341,-877.412),(-1211.34,-875),(-1212.929,-872.929),(-1215,-871.34),(-1217.412,-870.341),(-1220,-870)], 149.998, ends="flush", simple_path=True, layer=20, datatype=0))  # L20_0
sla704xm.add(gdstk.FlexPath([(30100,-1200),(-1550,-1200)], 50, ends="flush", simple_path=True, layer=9, datatype=0))  # L9_0
sla704xm.add(gdstk.FlexPath([(30100,5200),(30100,-1200)], 50, ends="flush", simple_path=True, layer=9, datatype=0))  # L9_0
sla704xm.add(gdstk.FlexPath([(-1550,5200),(30100,5200)], 50, ends="flush", simple_path=True, layer=9, datatype=0))  # L9_0
sla704xm.add(gdstk.FlexPath([(-1550,-1200),(-1550,5200)], 50, ends="flush", simple_path=True, layer=9, datatype=0))  # L9_0
sla704xm.add(gdstk.Label('Housings_SIP.3dshapes/SLA704XM.wrl', (0,0), layer=12, texttype=0))
sla704xm.add(gdstk.Label('18', (28560,4040), layer=28, texttype=0))
sla704xm.add(gdstk.Label('17', (26880,0), layer=28, texttype=0))
sla704xm.add(gdstk.Label('16', (25200,4040), layer=28, texttype=0))
sla704xm.add(gdstk.Label('15', (23520,0), layer=28, texttype=0))
sla704xm.add(gdstk.Label('14', (21840,4040), layer=28, texttype=0))
sla704xm.add(gdstk.Label('13', (20160,0), layer=28, texttype=0))
sla704xm.add(gdstk.Label('12', (18480,4040), layer=28, texttype=0))
sla704xm.add(gdstk.Label('11', (16800,0), layer=28, texttype=0))
sla704xm.add(gdstk.Label('10', (15120,4040), layer=28, texttype=0))
sla704xm.add(gdstk.Label('9', (13440,0), layer=28, texttype=0))
sla704xm.add(gdstk.Label('8', (11760,4040), layer=28, texttype=0))
sla704xm.add(gdstk.Label('7', (10080,0), layer=28, texttype=0))
sla704xm.add(gdstk.Label('6', (8400,4040), layer=28, texttype=0))
sla704xm.add(gdstk.Label('5', (6720,0), layer=28, texttype=0))
sla704xm.add(gdstk.Label('4', (5040,4040), layer=28, texttype=0))
sla704xm.add(gdstk.Label('3', (3360,0), layer=28, texttype=0))
sla704xm.add(gdstk.Label('2', (1680,4040), layer=28, texttype=0))
sla704xm.add(gdstk.Label('1', (0,0), layer=28, texttype=0))
sla704xm.add(gdstk.Label('type', (27000,-2000), layer=9, texttype=0))
sla704xm.add(gdstk.Label('devicename', (15000,6000), layer=9, texttype=0))

lib.write_gds('SLA704XM.gds')
